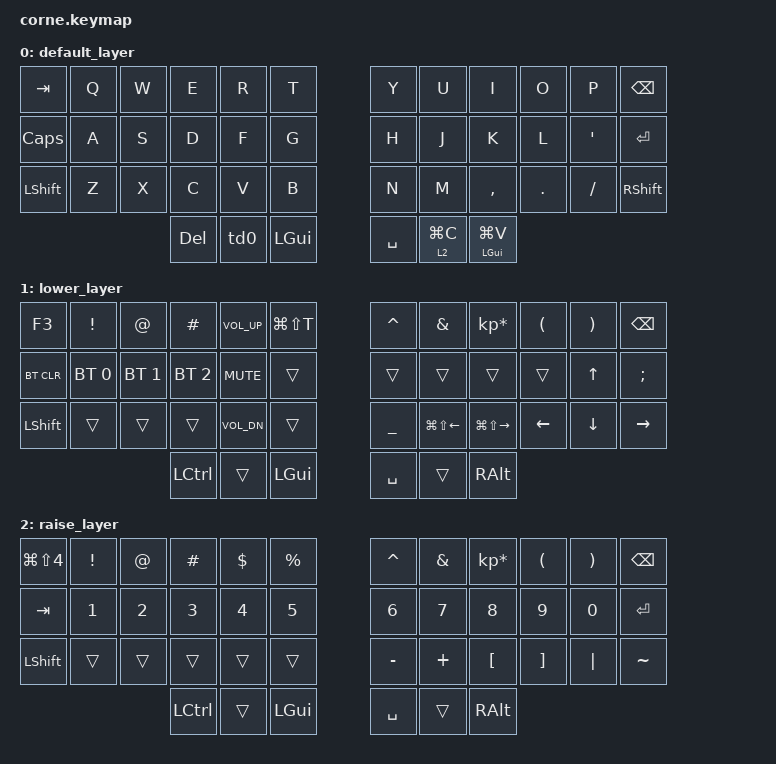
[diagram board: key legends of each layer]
/*
 * Copyright (c) 2020 The ZMK Contributors
 *
 * SPDX-License-Identifier: MIT
 */

#include <behaviors.dtsi>
#include <dt-bindings/zmk/keys.h>
#include <dt-bindings/zmk/bt.h>
#include <dt-bindings/zmk/outputs.h>

/ {
 behaviors {
        td0: tap_dance_0 {
            compatible = "zmk,behavior-tap-dance";
            label = "TAP_DANCE_0";
            #binding-cells = <0>;
            tapping-term-ms = <200>;
            bindings = <&mo 1>, <&tog 1>;
        };
    };
        keymap {
                compatible = "zmk,keymap";

                default_layer {
// -----------------------------------------------------------------------------------------
// | TAB  |  Q  |  W  |  E  |  R  |  T  |   |  Y  |  U   |  I  |  O  |  P  | BKSP  |
// | CAP  |  A  |  S  |  D  |  F  |  G  |   |  H  |  J   |  K  |  L  |  '  | ENT   |
// | SHFT |  Z  |  X  |  C  |  V  |  B  |   |  N  |  M   |  ,  |  .  |  /  | SHIFT |
//                    | DEL | LWR | GUI |   | SPC | RSE  | ALT |
                        bindings = <
   &kp TAB   &kp Q &kp W &kp E &kp R &kp T   &kp Y &kp U  &kp I     &kp O   &kp P    &kp BSPC
   &kp CAPS  &kp A &kp S &kp D &kp F &kp G   &kp H &kp J  &kp K     &kp L   &kp SQT  &kp RET
   &kp LSHFT &kp Z &kp X &kp C &kp V &kp B   &kp N &kp M  &kp COMMA &kp DOT &kp FSLH &kp RSHFT
                  &kp DEL &td0 &kp LGUI    &kp SPACE &lt 2 LG(C) &mt LGUI LG(V)
                        >;
                };
                lower_layer {
// -----------------------------------------------------------------------------------------
// | MCOM |  !  |  @  |  #  | V+  | GST |   |  ^  |  &  |  *  |  (  |  )  | BKSP |
// | BTCLR| BT1 | BT2 | BT3 |MUTE | BT5 |   |     |     |     |     | UP  |   ;  |
// | SHFT |     |     |     | V-  |     |   |  _  |HOME | END | LFT | DWN |  RGT |
//                    |CTRL |     | GUI |   | SPC |     | ALT |
                        bindings = <
   &kp F3     &kp EXCL     &kp AT       &kp HASH     &kp C_VOL_UP  &kp LG(LS(T))  &kp CARET  &kp AMPS           &kp KP_MULTIPLY    &kp LPAR &kp RPAR    &kp BSPC
   &bt BT_CLR &bt BT_SEL 0 &bt BT_SEL 1 &bt BT_SEL 2 &kp K_MUTE    &trans         &trans     &trans             &trans             &trans    &kp UP     &kp SEMI
   &kp LSHFT  &trans       &trans       &trans       &kp C_VOL_DN  &trans         &kp UNDER  &kp LG(LS(LEFT))   &kp LG(LS(RIGHT))  &kp LEFT  &kp DOWN   &kp RIGHT
                          	        &kp LCTRL    &trans       &kp LGUI   	 &kp SPACE  &trans   &kp RALT
                        >;
                };

                raise_layer {
// -----------------------------------------------------------------------------------------
// | SCSH |  !  |  @  |  #  |  $  |  %  |   |  ^  |  &  |  *  |  (  |  )  | BKSP |
// | TAB  |  1  |  2  |  3  |  4  |  5  |   |  6  |  7  |  8  |  9  |  0  | ENT  |
// | SHFT |     |     |     |     |     |   |  _  |  +  |  {  |  }  | "|" |  ~   |
//                    |CTRL |     | GUI |   | SPC |     | ALT |
                        bindings = <
   &kp LG(LS(N4)) &kp EXCL &kp AT &kp HASH   &kp DLLR &kp PRCNT   &kp CARET &kp AMPS  &kp KP_MULTIPLY &kp LPAR &kp RPAR &kp BSPC
   &kp TAB        &kp N1   &kp N2 &kp N3     &kp N4   &kp N5      &kp N6    &kp N7    &kp N8          &kp N9   &kp N0   &kp RET
   &kp LSHFT      &trans   &trans &trans     &trans   &trans      &kp MINUS &kp PLUS  &kp LBKT        &kp RBKT &kp PIPE &kp TILDE
                    	     &kp LCTRL 	&trans   &kp LGUI    &kp SPACE   &trans  &kp RALT
                        >;
                };
        };
};


